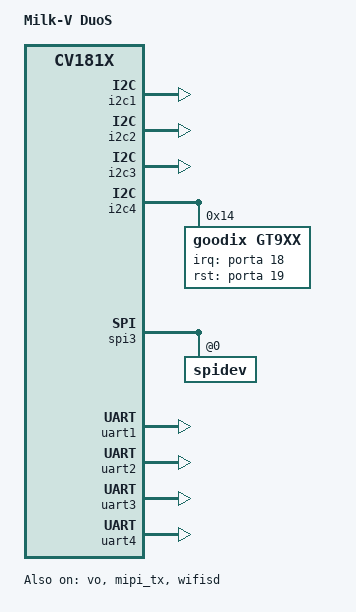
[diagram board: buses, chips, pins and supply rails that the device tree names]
/dts-v1/;
#include "cv181x_base_arm.dtsi"
#include "cv181x_asic_bga.dtsi"
#include "cv181x_asic_emmc.dtsi"

/ {
	model = "Milk-V DuoS";
};

&mipi_rx {
	snsr-reset = <&porta 2 GPIO_ACTIVE_LOW>, <&porta 2 GPIO_ACTIVE_LOW>, <&porta 2 GPIO_ACTIVE_LOW>;
};

&i2c0 {
	status = "disabled";
};

&i2c1 {
	status = "okay";
};

&i2c2 {
	status = "okay";
};

&i2c3 {
	status = "okay";
};

&i2c4 {
	status = "okay";

	gt9xx: gt9xx@14 {
		compatible = "goodix,gt9xx";
		reg = <0x14>;
		goodix,irq-gpio = <&porta 18 0>;
		goodix,rst-gpio = <&porta 19 GPIO_ACTIVE_HIGH>;
		status = "okay";
	};
};

&spi3 {
	status = "okay";

	spidev@0 {
		status = "okay";
	};
};

&dac {
	/delete-property/ mute-gpio-l;
	/delete-property/ mute-gpio-r;
};

/* mipi dsi for u-boot */
&vo {
	compatible = "cvitek,vo";
	reset-gpio = <&porte 2 GPIO_ACTIVE_LOW>;
	pwm-gpio = <&porte 0 GPIO_ACTIVE_HIGH>;
	power-ct-gpio = <&porte 1 GPIO_ACTIVE_HIGH>;
	status = "okay";
};

/* mipi dsi for kernel */
&mipi_tx {
	compatible = "cvitek,mipi_tx";
	reset-gpio = <&porte 2 GPIO_ACTIVE_LOW>;
	pwm-gpio = <&porte 0 GPIO_ACTIVE_HIGH>;
	power-ct-gpio = <&porte 1 GPIO_ACTIVE_HIGH>;
	status = "okay";
};

&wifisd {
	status = "okay";
	cap-sd-highspeed;
	sd-uhs-sdr25;
	sd-uhs-ddr50;
	sd-uhs-sdr104;
	min-frequency = <400000>;
	max-frequency = <187500000>;
};

&wifi_pin {
	status = "okay";
	compatible = "cvitek,wifi-pin";
	poweron-gpio = <&porta 15 GPIO_ACTIVE_HIGH>;
	wakeup-gpio = <&porte 7 GPIO_ACTIVE_HIGH>;
};

&usb {
	vbus-gpio = <&portb 6 0>;
};

&uart1 {
	status = "okay";
};

&uart2 {
	status = "okay";
};

&uart3 {
	status = "okay";
};

&uart4 {
	status = "okay";
};
